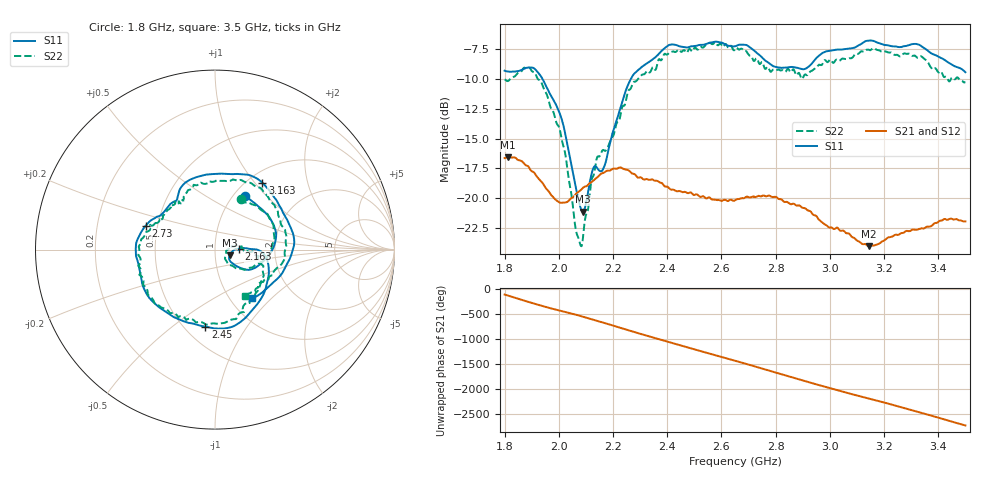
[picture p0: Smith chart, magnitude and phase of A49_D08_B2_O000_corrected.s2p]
! Created with skrf 1.9.0 (http://scikit-rf.org).
# Hz S RI R 50.0
!freq ReS11 ImS11 ReS21 ImS21 ReS12 ImS12 ReS22 ImS22
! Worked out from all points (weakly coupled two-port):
!   1601 points, 1.8 GHz to 3.5 GHz, reference 50 ohm
!   highest |S21| = -16.57 dB at 1.812 GHz (marker M1); lowest = -24.1 dB at 3.143 GHz (marker M2)
!   lowest |S11| = -21.2 dB at 2.089 GHz (marker M3), VSWR 1.19, Z = 58.7 - j3.78 ohm
!   |S11| at or under -10 dB: 1.94 GHz to 2.265 GHz (325.1 MHz wide, 15.5 % of centre)
!   |S22| runs from -24.1 to -6.9 dB; largest |S21 - S12| = 0.0029
!   S11 on the Smith chart (normalised r, x): 1.8 GHz: 1.12, +0.76; 2.163 GHz: 1.30, +0.01; 2.45 GHz: 0.63, -0.66; 2.73 GHz: 0.43, +0.14; 3.163 GHz: 1.16, +1.10; 3.5 GHz: 1.27, -0.76
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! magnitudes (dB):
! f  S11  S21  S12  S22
! 1.8 GHz  -9.3  -16.6  -16.6  -10.0
! 1.812 GHz  -9.4  -16.6  -16.6  -10.2
! 1.888 GHz  -9.0  -17.4  -17.4  -9.0
! 1.94 GHz  -10.0  -18.7  -18.8  -10.5
! 2.007 GHz  -13.1  -20.4  -20.4  -14.6
! 2.063 GHz  -19.2  -19.6  -19.7  -22.8
! 2.084 GHz  -21.0  -19.3  -19.2  -24.1
! 2.089 GHz  -21.2  -19.1  -19.2  -23.4
! 2.127 GHz  -17.5  -18.5  -18.5  -18.1
! 2.163 GHz  -17.6  -17.9  -17.8  -16.0
! 2.261 GHz  -10.2  -17.7  -17.8  -10.9
! 2.367 GHz  -7.9  -18.6  -18.6  -8.4
! 2.45 GHz  -7.3  -19.5  -19.5  -7.7
! 2.65 GHz  -7.2  -20.2  -20.2  -7.5
! 2.73 GHz  -7.8  -19.9  -19.9  -8.3
! 2.806 GHz  -9.0  -20.0  -20.0  -9.2
! 2.934 GHz  -8.7  -21.3  -21.3  -9.3
! 3.143 GHz  -6.8  -24.1  -24.0  -7.5
! 3.163 GHz  -6.8  -24.0  -24.0  -7.4
! 3.217 GHz  -7.2  -23.3  -23.3  -7.8
! 3.326 GHz  -7.1  -22.6  -22.6  -8.2
! 3.5 GHz  -9.4  -22.0  -22.0  -10.3
